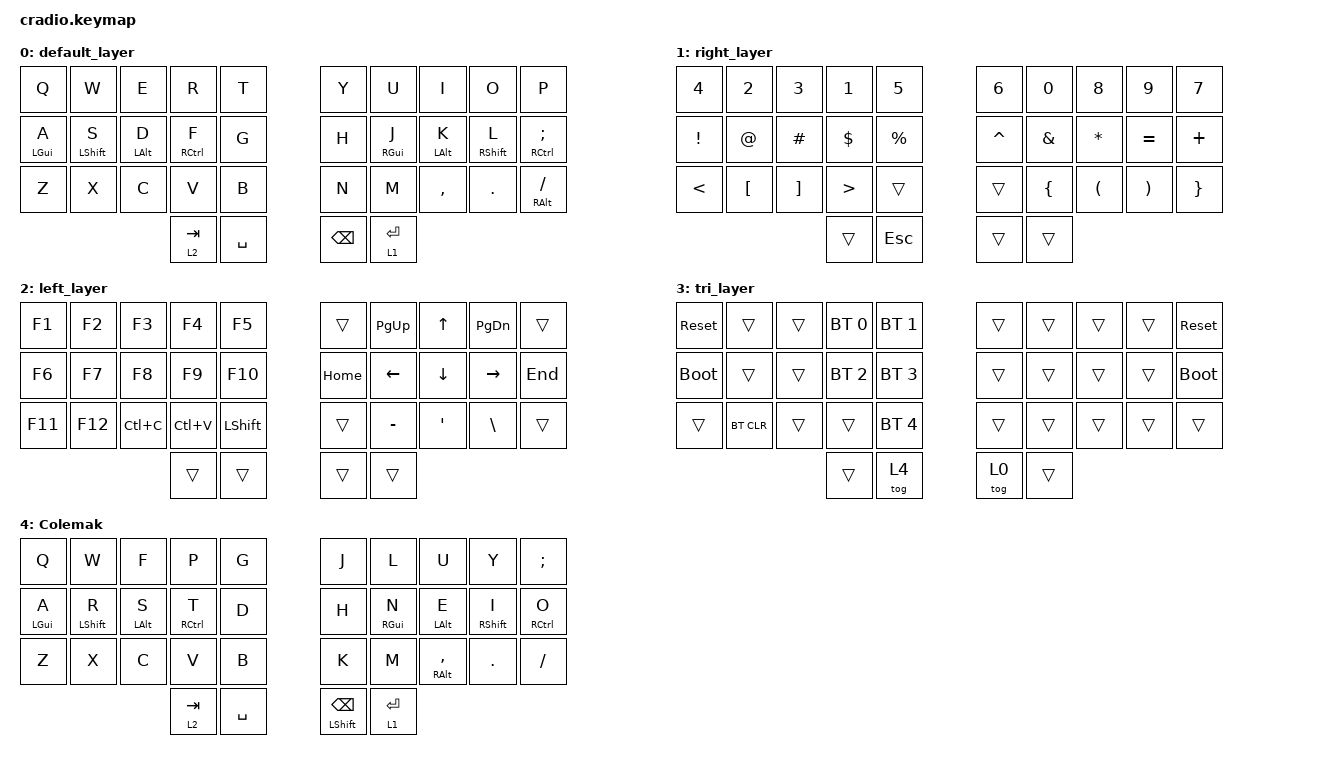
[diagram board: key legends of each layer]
// Copyright (c) 2022 The ZMK Contributors
// SPDX-License-Identifier: MIT

#include <behaviors.dtsi>
#include <dt-bindings/zmk/bt.h>
#include <dt-bindings/zmk/keys.h>

// Home row mods macro
// #define HRML(k1,k2,k3,k4) &ht LSHFT k1  &ht LALT k2  &ht LCTRL k3  &ht LGUI k4
// #define HRMR(k1,k2,k3,k4) &ht RGUI k1  &ht RCTRL k2  &ht RALT k3  &ht RSHFT k4

/ {
    behaviors {
        hml: homerow_mods_left {
            compatible = "zmk,behavior-hold-tap";
            label = "HOMEROW_MODS_LEFT_HAND";
            bindings = <&kp>, <&kp>;

            #binding-cells = <2>;
            tapping-term-ms = <200>;
            hold-trigger-key-positions = <5 6 7 5 6 7 8 9 15 16 17 18 19 25 26 27 28 29 33 32>;
            flavor = "balanced";
        };

        hmr: homerow_mods_right {
            compatible = "zmk,behavior-hold-tap";
            label = "HOMEROW_MODS_RIGHT_HAND";
            bindings = <&kp>, <&kp>;

            #binding-cells = <2>;
            tapping-term-ms = <200>;
            hold-trigger-key-positions = <0 1 2 3 4 10 11 12 13 14 20 21 22 23 24 30 31>;
            flavor = "balanced";
        };

        as_ht: autoshift_hold_tap {
            compatible = "zmk,behavior-hold-tap";
            label = "AUTOSHIFT_HOLD_TAP";
            bindings = <&shift>, <&kp>;

            #binding-cells = <2>;
            tapping-term-ms = <190>;
        };

        alt_gr: alt_gr {
            compatible = "zmk,behavior-hold-tap";
            label = "ALT_GR";
            bindings = <&kp>, <&kp>;

            #binding-cells = <2>;
            tapping-term-ms = <200>;
            flavor = "balanced";
        };

        shift_combo: shift_combo {
            compatible = "zmk,behavior-hold-tap";
            label = "SHIFT_COMBO";
            bindings = <&kp>, <&kp>;

            #binding-cells = <2>;
            tapping-term-ms = <190>;
            hold-trigger-key-positions = <0 1 2 3 4 10 11 12 13 14 20 21 22 23 24 5 6 7 8 9 15 16 17 18 19 25 26 27 28 29 0 1 2 3 4 5 6 7 8 9 10 11 12 13 14 15 16 17 18 19 20 21 22 23 24 25 26 27 28 29 0 1 2 3 4 5 6 7 8 9 10 11 12 13 14 15 16 17 18 19 20 21 22 23 24 25 26 27 28 29>;
        };

        tap_shift: tap_shift {
            compatible = "zmk,behavior-tap-dance";
            label = "TAP_SHIFT";
            #binding-cells = <0>;
            bindings = <&kp BACKSPACE>, <&shift LEFT_SHIFT>;
        };
    };

    conditional_layers {
        compatible = "zmk,conditional-layers";

        tri_layer {
            if-layers = <1 2>;
            then-layer = <3>;
        };
    };

    macros {
        shift: shift {
            compatible = "zmk,behavior-macro-one-param";
            #binding-cells = <1>;
            bindings =
                <&macro_press>,
                <&kp LEFT_SHIFT>,
                <&macro_tap>,
                <&macro_param_1to1 &kp MACRO_PLACEHOLDER>,
                <&macro_release>,
                <&kp LEFT_SHIFT>;

            label = "SHIFT";
        };
    };

    combos {
        compatible = "zmk,combos";

        caps_ {
            bindings = <&caps_word>;
            key-positions = <14 15>;
        };

        delete {
            bindings = <&kp DELETE>;
            key-positions = <27 28>;
        };

        task_manager {
            bindings = <&kp LS(LC(ESCAPE))>;
            key-positions = <0 9>;
        };

        vol_up {
            bindings = <&kp C_VOLUME_UP>;
            key-positions = <9 20>;
        };

        vol_down {
            bindings = <&kp C_VOLUME_DOWN>;
            key-positions = <19 20>;
        };

        mute {
            bindings = <&kp K_MUTE>;
            key-positions = <29 20>;
        };

        ctrl_alt_del {
            bindings = <&kp LC(LA(DELETE))>;
            key-positions = <4 5>;
        };

        Printscreen {
            bindings = <&kp PRINTSCREEN>;
            key-positions = <1 2>;
        };

        esc {
            bindings = <&kp ESC>;
            key-positions = <1 0>;
        };
    };

    keymap {
        compatible = "zmk,keymap";

        default_layer {
            bindings = <
&kp Q            &kp W              &kp E            &kp R         &kp T        &kp Y          &kp U             &kp I        &kp O         &kp P
&hml LEFT_GUI A  &hml LEFT_SHIFT S  &hml LEFT_ALT D  &hml RCTRL F  &kp G        &kp H          &hmr RIGHT_GUI J  &hmr LALT K  &hmr RSHFT L  &hmr RCTRL SEMICOLON
&kp Z            &kp X              &kp C            &kp V         &kp B        &kp N          &kp M             &kp COMMA    &kp DOT       &alt_gr RIGHT_ALT SLASH
                                                     &lt 2 TAB     &kp SPACE    &kp BACKSPACE  &lt 1 ENTER
            >;
        };

        right_layer {
            bindings = <
&kp NUMBER_4     &kp NUMBER_2      &kp NUMBER_3       &kp NUMBER_1      &kp NUMBER_5    &kp NUMBER_6  &kp NUMBER_0    &kp NUMBER_8          &kp NUMBER_9           &kp NUMBER_7
&kp EXCLAMATION  &kp AT_SIGN       &kp HASH           &kp DOLLAR        &kp PERCENT     &kp CARET     &kp AMPERSAND   &kp ASTERISK          &kp EQUAL              &kp PLUS
&kp LESS_THAN    &kp LEFT_BRACKET  &kp RIGHT_BRACKET  &kp GREATER_THAN  &trans          &trans        &kp LEFT_BRACE  &kp LEFT_PARENTHESIS  &kp RIGHT_PARENTHESIS  &kp RIGHT_BRACE
                                                      &trans            &kp ESC         &trans        &trans
            >;
        };

        left_layer {
            bindings = <
&kp F1   &kp F2   &kp F3     &kp F4     &kp F5            &trans    &kp PAGE_UP     &kp UP_ARROW      &kp PAGE_DOWN    &trans
&kp F6   &kp F7   &kp F8     &kp F9     &kp F10           &kp HOME  &kp LEFT_ARROW  &kp DOWN_ARROW    &kp RIGHT_ARROW  &kp END
&kp F11  &kp F12  &kp LC(C)  &kp LC(V)  &kp LEFT_SHIFT    &trans    &kp MINUS       &kp SINGLE_QUOTE  &kp BACKSLASH    &trans
                             &trans     &trans            &trans    &trans
            >;
        };

        tri_layer {
            bindings = <
&sys_reset   &trans      &trans  &bt BT_SEL 0  &bt BT_SEL 1    &trans  &trans  &trans  &trans  &sys_reset
&bootloader  &trans      &trans  &bt BT_SEL 2  &bt BT_SEL 3    &trans  &trans  &trans  &trans  &bootloader
&trans       &bt BT_CLR  &trans  &trans        &bt BT_SEL 4    &trans  &trans  &trans  &trans  &trans
                                 &trans        &tog 4          &tog 0  &trans
            >;
        };

        Colemak {
            bindings = <
&kp Q            &kp W              &kp F            &kp P         &kp G        &kp J                              &kp L             &kp U                    &kp Y         &kp SEMICOLON
&hml LEFT_GUI A  &hml LEFT_SHIFT R  &hml LEFT_ALT S  &hml RCTRL T  &kp D        &kp H                              &hmr RIGHT_GUI N  &hmr LALT E              &hmr RSHFT I  &hmr RCTRL O
&kp Z            &kp X              &kp C            &kp V         &kp B        &kp K                              &kp M             &alt_gr RIGHT_ALT COMMA  &kp DOT       &kp FSLH
                                                     &lt 2 TAB     &kp SPACE    &shift_combo LEFT_SHIFT BACKSPACE  &lt 1 ENTER
            >;
        };
    };
};
